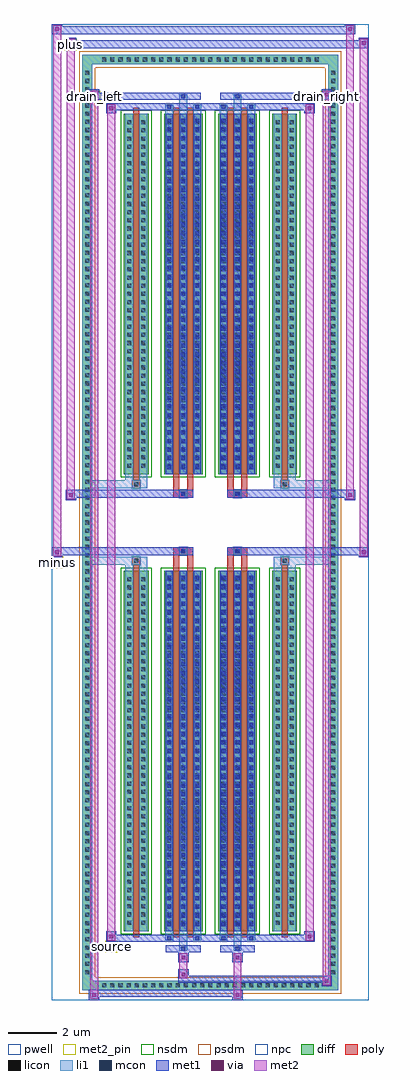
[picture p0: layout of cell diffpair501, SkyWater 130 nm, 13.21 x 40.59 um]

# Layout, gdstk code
import gdstk
lib = gdstk.Library(unit=1e-6, precision=5e-09)
def R(c, l, rs):  # rectangles x0, y0, x1, y1
    for r in rs: c.add(gdstk.rectangle(r[:2], r[2:], *l))
def A(c, l, x, y, w, h, nx, ny, dx, dy):  # array of equal rectangles
    R(c, l, [(x+i*dx, y+j*dy, x+i*dx+w, y+j*dy+h) for i in range(nx) for j in range(ny)])
def P(c, l, *ps):  # polygons
    for p in ps: c.add(gdstk.Polygon(p, *l))
pwell = (64, 44)
diff = (65, 20)
poly = (66, 20)
licon = (66, 44)
li1 = (67, 20)
mcon = (67, 44)
met1 = (68, 20)
via = (68, 44)
met2_pin = (69, 16)
met2 = (69, 20)
nsdm = (93, 44)
psdm = (94, 20)
npc = (95, 20)

diffpair501 = lib.new_cell('diffpair501')
R(diffpair501, pwell, [(-6.59,-19.86,6.59,20.73), (-3.91,-18.05,-0.01,-0.825), (0.01,-18.05,3.91,-0.825), (-3.91,0.825,-0.01,18.05), (0.01,0.825,3.91,18.05)])
A(diffpair501, diff, -4.625, -19.46, 0.41, 0.41, 27, 2, 0.34, 38.51)
A(diffpair501, diff, -5.32, -18.905, 0.41, 0.41, 1, 111, 0, 0.34)
A(diffpair501, diff, 4.91, -18.905, 0.41, 0.41, 1, 111, 0, 0.34)
R(diffpair501, diff, [(-4.625,-19.46,4.625,-19.05), (-5.32,-18.905,-4.91,18.905), (4.91,-18.905,5.32,18.905), (-3.6,-17.005,-2.57,-2.005), (-1.93,-17.005,-0.32,-2.005), (0.32,-17.005,1.93,-2.005), (2.57,-17.005,3.6,-2.005), (-3.6,2.005,-2.57,17.005), (-1.93,2.005,-0.32,17.005), (0.32,2.005,1.93,17.005), (2.57,2.005,3.6,17.005), (-4.625,19.05,4.625,19.46)])
P(diffpair501, diff, [(5.32,19.46),(-5.32,19.46),(-5.32,-19.05),(-4.91,-19.05),(-4.91,19.05),(4.91,19.05),(4.91,-19.05),(-4.91,-19.05),(-5.32,-19.05),(-5.32,-19.46),(5.32,-19.46)])
R(diffpair501, poly, [(-3.21,-17.255,-2.96,-1.755), (-1.54,-17.255,-1.29,-1.755), (-0.96,-17.255,-0.71,-1.755), (0.71,-17.255,0.96,-1.755), (1.29,-17.255,1.54,-1.755), (2.96,-17.255,3.21,-1.755), (-3.25,-1.755,-2.92,-1.425), (-3.25,-1.755,-2.92,-1.425), (-1.54,-1.755,-1.29,-1.355), (-0.96,-1.755,-0.71,-1.355), (0.71,-1.755,0.96,-1.355), (1.29,-1.755,1.54,-1.355), (2.92,-1.755,3.25,-1.425), (2.92,-1.755,3.25,-1.425), (-1.54,-1.355,-0.71,-1.025), (-1.29,-1.355,-0.96,-1.025), (0.71,-1.355,1.54,-1.025), (0.96,-1.355,1.29,-1.025), (-1.54,1.025,-0.71,1.355), (-1.29,1.025,-0.96,1.355), (0.71,1.025,1.54,1.355), (0.96,1.025,1.29,1.355), (-1.54,1.355,-1.29,1.755), (-0.96,1.355,-0.71,1.755), (0.71,1.355,0.96,1.755), (1.29,1.355,1.54,1.755), (-3.25,1.425,-2.92,1.755), (-3.25,1.425,-2.92,1.755), (2.92,1.425,3.25,1.755), (2.92,1.425,3.25,1.755), (-3.21,1.755,-2.96,17.255), (-1.54,1.755,-1.29,17.255), (-0.96,1.755,-0.71,17.255), (0.71,1.755,0.96,17.255), (1.29,1.755,1.54,17.255), (2.96,1.755,3.21,17.255)])
A(diffpair501, licon, -4.505, -19.34, 0.17, 0.17, 27, 2, 0.34, 38.51)
A(diffpair501, licon, -5.2, -18.785, 0.17, 0.17, 1, 111, 0, 0.34)
A(diffpair501, licon, 5.03, -18.785, 0.17, 0.17, 1, 111, 0, 0.34)
A(diffpair501, licon, -3.46, -16.73, 0.17, 0.17, 1, 43, 0, 0.34)
A(diffpair501, licon, -2.88, -16.73, 0.17, 0.17, 1, 43, 0, 0.34)
A(diffpair501, licon, -1.79, -16.73, 0.17, 0.17, 3, 43, 0.58, 0.34)
A(diffpair501, licon, 0.46, -16.73, 0.17, 0.17, 3, 43, 0.58, 0.34)
A(diffpair501, licon, 2.71, -16.73, 0.17, 0.17, 1, 43, 0, 0.34)
A(diffpair501, licon, 3.29, -16.73, 0.17, 0.17, 1, 43, 0, 0.34)
A(diffpair501, licon, -3.46, 2.28, 0.17, 0.17, 1, 43, 0, 0.34)
A(diffpair501, licon, -2.88, 2.28, 0.17, 0.17, 1, 43, 0, 0.34)
A(diffpair501, licon, -1.79, 2.28, 0.17, 0.17, 3, 43, 0.58, 0.34)
A(diffpair501, licon, 0.46, 2.28, 0.17, 0.17, 3, 43, 0.58, 0.34)
A(diffpair501, licon, 2.71, 2.28, 0.17, 0.17, 1, 43, 0, 0.34)
A(diffpair501, licon, 3.29, 2.28, 0.17, 0.17, 1, 43, 0, 0.34)
R(diffpair501, licon, [(-3.17,-1.675,-3,-1.505), (3,-1.675,3.17,-1.505), (-1.21,-1.275,-1.04,-1.105), (1.04,-1.275,1.21,-1.105), (-1.21,1.105,-1.04,1.275), (1.04,1.105,1.21,1.275), (-3.17,1.505,-3,1.675), (3,1.505,3.17,1.675)])
A(diffpair501, li1, -4.585, -19.42, 0.33, 0.33, 27, 2, 0.34, 38.51)
A(diffpair501, li1, -5.28, -18.865, 0.33, 0.33, 1, 111, 0, 0.34)
A(diffpair501, li1, 4.95, -18.865, 0.33, 0.33, 1, 111, 0, 0.34)
A(diffpair501, li1, -1.87, -17.005, 0.33, 15, 3, 2, 0.58, 19.01)
A(diffpair501, li1, 0.38, -17.005, 0.33, 15, 3, 2, 0.58, 19.01)
A(diffpair501, li1, -3.54, -16.81, 0.33, 0.33, 1, 43, 0, 0.34)
A(diffpair501, li1, -2.96, -16.81, 0.33, 0.33, 1, 43, 0, 0.34)
A(diffpair501, li1, -1.87, -16.81, 0.33, 0.33, 3, 43, 0.58, 0.34)
A(diffpair501, li1, 0.38, -16.81, 0.33, 0.33, 3, 43, 0.58, 0.34)
A(diffpair501, li1, 2.63, -16.81, 0.33, 0.33, 1, 43, 0, 0.34)
A(diffpair501, li1, 3.21, -16.81, 0.33, 0.33, 1, 43, 0, 0.34)
A(diffpair501, li1, -1.79, -16.79, 0.17, 0.17, 3, 41, 0.58, 0.36)
A(diffpair501, li1, -1.79, -16.79, 0.17, 14.57, 3, 2, 0.58, 19.01)
A(diffpair501, li1, 0.46, -16.79, 0.17, 0.17, 3, 41, 0.58, 0.36)
A(diffpair501, li1, 0.46, -16.79, 0.17, 14.57, 3, 2, 0.58, 19.01)
A(diffpair501, li1, -3.54, 2.2, 0.33, 0.33, 1, 43, 0, 0.34)
A(diffpair501, li1, -2.96, 2.2, 0.33, 0.33, 1, 43, 0, 0.34)
A(diffpair501, li1, -1.87, 2.2, 0.33, 0.33, 3, 43, 0.58, 0.34)
A(diffpair501, li1, 0.38, 2.2, 0.33, 0.33, 3, 43, 0.58, 0.34)
A(diffpair501, li1, 2.63, 2.2, 0.33, 0.33, 1, 43, 0, 0.34)
A(diffpair501, li1, 3.21, 2.2, 0.33, 0.33, 1, 43, 0, 0.34)
A(diffpair501, li1, -1.79, 2.22, 0.17, 0.17, 3, 41, 0.58, 0.36)
A(diffpair501, li1, 0.46, 2.22, 0.17, 0.17, 3, 41, 0.58, 0.36)
R(diffpair501, li1, [(-5.32,-19.46,-4.91,-19.05), (-5.32,-19.46,-4.91,-19.05), (-4.91,-19.46,4.91,-19.05), (4.91,-19.46,5.32,-19.05), (4.91,-19.46,5.32,-19.05), (-5.32,-19.05,-4.91,19.05), (4.91,-19.05,5.32,19.05), (-1.29,-17.81,-0.96,-17.005), (-1.21,-17.81,-1.04,-17.64), (0.96,-17.81,1.29,-17.005), (1.04,-17.81,1.21,-17.64), (-1.87,-17.38,-1.54,-17.005), (-1.79,-17.38,-1.62,-17.21), (-0.71,-17.38,-0.38,-17.005), (-0.63,-17.38,-0.46,-17.21), (0.38,-17.38,0.71,-17.005), (0.46,-17.38,0.63,-17.21), (1.54,-17.38,1.87,-17.005), (1.62,-17.38,1.79,-17.21), (-3.54,-17.005,-3.21,-2.005), (-2.96,-17.005,-2.63,-2.005), (2.63,-17.005,2.96,-2.005), (3.21,-17.005,3.54,-2.005), (-3.54,-2.005,-3.21,-1.425), (-2.96,-2.005,-2.63,-1.425), (2.63,-2.005,2.96,-1.425), (3.21,-2.005,3.54,-1.425), (-5.32,-1.755,-3.25,-1.425), (-3.54,-1.755,-3.25,-1.425), (-3.25,-1.755,-2.92,-1.425), (-2.92,-1.755,-2.63,-1.425), (2.63,-1.755,2.92,-1.425), (2.92,-1.755,3.25,-1.425), (2.92,-1.755,5.32,-1.425), (3.25,-1.755,3.54,-1.425), (-1.29,-1.355,-0.96,-1.025), (0.96,-1.355,1.29,-1.025), (-1.29,1.025,-0.96,1.355), (0.96,1.025,1.29,1.355), (-5.32,1.425,-3.25,1.755), (-3.54,1.425,-3.25,1.755), (-3.54,1.425,-3.21,2.005), (-3.25,1.425,-2.92,1.755), (-2.96,1.425,-2.63,2.005), (-2.92,1.425,-2.63,1.755), (2.63,1.425,2.92,1.755), (2.63,1.425,2.96,2.005), (2.92,1.425,3.25,1.755), (2.92,1.425,5.32,1.755), (3.21,1.425,3.54,2.005), (3.25,1.425,3.54,1.755), (-3.54,2.005,-3.21,17.005), (-2.96,2.005,-2.63,17.005), (2.63,2.005,2.96,17.005), (3.21,2.005,3.54,17.005), (-1.87,17.005,-1.54,17.38), (-1.29,17.005,-0.96,17.81), (-0.71,17.005,-0.38,17.38), (0.38,17.005,0.71,17.38), (0.96,17.005,1.29,17.81), (1.54,17.005,1.87,17.38), (-1.79,17.21,-1.62,17.38), (-0.63,17.21,-0.46,17.38), (0.46,17.21,0.63,17.38), (1.62,17.21,1.79,17.38), (-1.21,17.64,-1.04,17.81), (1.04,17.64,1.21,17.81), (-5.32,19.05,-4.91,19.46), (-5.32,19.05,-4.91,19.46), (-4.91,19.05,4.91,19.46), (4.91,19.05,5.32,19.46), (4.91,19.05,5.32,19.46)])
A(diffpair501, mcon, -1.79, -16.79, 0.17, 0.17, 3, 41, 0.58, 0.36)
A(diffpair501, mcon, 0.46, -16.79, 0.17, 0.17, 3, 41, 0.58, 0.36)
A(diffpair501, mcon, -1.79, 2.22, 0.17, 0.17, 3, 41, 0.58, 0.36)
A(diffpair501, mcon, 0.46, 2.22, 0.17, 0.17, 3, 41, 0.58, 0.36)
R(diffpair501, mcon, [(-1.21,-17.81,-1.04,-17.64), (1.04,-17.81,1.21,-17.64), (-1.79,-17.38,-1.62,-17.21), (-0.63,-17.38,-0.46,-17.21), (0.46,-17.38,0.63,-17.21), (1.62,-17.38,1.79,-17.21), (-1.21,-1.275,-1.04,-1.105), (1.04,-1.275,1.21,-1.105), (-1.21,1.105,-1.04,1.275), (1.04,1.105,1.21,1.275), (-1.79,17.21,-1.62,17.38), (-0.63,17.21,-0.46,17.38), (0.46,17.21,0.63,17.38), (1.62,17.21,1.79,17.38), (-1.21,17.64,-1.04,17.81), (1.04,17.64,1.21,17.81)])
A(diffpair501, met1, -1.85, -17.005, 0.29, 15, 3, 2, 0.58, 19.01)
A(diffpair501, met1, 0.4, -17.005, 0.29, 15, 3, 2, 0.58, 19.01)
A(diffpair501, met1, -1.85, -16.85, 0.29, 0.29, 3, 41, 0.58, 0.36)
A(diffpair501, met1, 0.4, -16.85, 0.29, 0.29, 3, 41, 0.58, 0.36)
A(diffpair501, met1, -1.85, 2.16, 0.29, 0.29, 3, 41, 0.58, 0.36)
A(diffpair501, met1, 0.4, 2.16, 0.29, 0.29, 3, 41, 0.58, 0.36)
R(diffpair501, met1, [(-5.05,-19.86,-4.62,-19.43), (0.91,-19.86,1.34,-19.43), (-5.05,-19.72,1.34,-19.43), (4.62,-19.29,5.05,-18.86), (-1.34,-19.15,5.05,-18.86), (-1.34,-19.01,-0.91,-18.58), (-1.34,-18.3,-0.91,-17.87), (0.91,-18.3,1.34,-17.87), (-1.85,-17.87,-0.4,-17.58), (-1.27,-17.87,-0.98,-17.58), (0.4,-17.87,1.85,-17.58), (0.98,-17.87,1.27,-17.58), (-4.34,-17.44,-3.91,-17.01), (-4.34,-17.44,-1.85,-17.15), (-1.85,-17.44,-1.56,-17.15), (-1.85,-17.44,-0.4,-17.15), (-0.69,-17.44,-0.4,-17.15), (-0.4,-17.44,0.4,-17.15), (0.4,-17.44,0.69,-17.15), (0.4,-17.44,1.85,-17.15), (1.56,-17.44,1.85,-17.15), (1.85,-17.44,4.34,-17.15), (3.91,-17.44,4.34,-17.01), (-6.59,-1.455,-6.16,-1.025), (6.16,-1.455,6.59,-1.025), (-6.59,-1.355,-0.71,-1.025), (-1.54,-1.355,-0.71,-1.025), (0.71,-1.355,1.54,-1.025), (0.71,-1.355,6.59,-1.025), (-1.27,-1.335,-0.98,-1.045), (0.98,-1.335,1.27,-1.045), (-6.02,0.925,-5.59,1.355), (5.59,0.925,6.02,1.355), (-6.02,1.025,-1.54,1.355), (-1.54,1.025,-0.71,1.355), (0.71,1.025,1.54,1.355), (1.54,1.025,6.02,1.355), (-1.27,1.045,-0.98,1.335), (0.98,1.045,1.27,1.335), (-4.34,17.01,-3.91,17.44), (3.91,17.01,4.34,17.44), (-4.34,17.15,-1.85,17.44), (-1.85,17.15,-1.56,17.44), (-1.85,17.15,-0.4,17.44), (-0.69,17.15,-0.4,17.44), (-0.4,17.15,0.4,17.44), (0.4,17.15,0.69,17.44), (0.4,17.15,1.85,17.44), (1.56,17.15,1.85,17.44), (1.85,17.15,4.34,17.44), (-5.05,17.58,-4.62,18.01), (-5.05,17.58,-1.85,17.87), (-1.85,17.58,-0.4,17.87), (-1.27,17.58,-0.98,17.87), (0.4,17.58,1.85,17.87), (0.98,17.58,1.27,17.87), (1.85,17.58,5.05,17.87), (4.62,17.58,5.05,18.01), (-6.02,19.73,-5.59,20.16), (-6.02,19.73,-3.91,20.06), (-3.91,19.73,3.91,20.06), (3.91,19.73,6.59,20.06), (6.16,19.73,6.59,20.16), (-6.59,20.3,-6.16,20.73), (-6.59,20.3,-3.91,20.63), (-3.91,20.3,3.91,20.63), (3.91,20.3,6.02,20.63), (5.59,20.3,6.02,20.73)])
R(diffpair501, via, [(-4.91,-19.72,-4.76,-19.57), (1.05,-19.72,1.2,-19.57), (4.76,-19.15,4.91,-19), (-1.2,-18.87,-1.05,-18.72), (-1.2,-18.16,-1.05,-18.01), (1.05,-18.16,1.2,-18.01), (-4.2,-17.3,-4.05,-17.15), (4.05,-17.3,4.2,-17.15), (-6.45,-1.315,-6.3,-1.165), (6.3,-1.315,6.45,-1.165), (-5.88,1.065,-5.73,1.215), (5.73,1.065,5.88,1.215), (-4.2,17.15,-4.05,17.3), (4.05,17.15,4.2,17.3), (-4.91,17.72,-4.76,17.87), (4.76,17.72,4.91,17.87), (-5.88,19.87,-5.73,20.02), (6.3,19.87,6.45,20.02), (-6.45,20.44,-6.3,20.59), (5.73,20.44,5.88,20.59)])
R(diffpair501, met2_pin, [(-4.375,-17.89,-3.875,-17.39), (-6.625,-1.905,-6.125,-1.405), (-5.085,17.46,-4.585,17.96), (4.585,17.46,5.085,17.96), (-6.055,19.61,-5.555,20.11)])
R(diffpair501, met2, [(-5,-19.81,-4.67,-19.48), (-5,-19.81,-4.67,17.96), (0.96,-19.81,1.29,-19.48), (0.96,-19.48,1.29,-18.25), (4.67,-19.24,5,-18.91), (4.67,-19.24,5,17.96), (-1.29,-18.96,-0.96,-18.63), (-1.29,-18.63,-0.96,-18.25), (-1.29,-18.25,-0.96,-17.92), (0.96,-18.25,1.29,-17.92), (-4.29,-17.39,-3.96,-17.06), (-4.29,-17.39,-3.96,17.39), (3.96,-17.39,4.29,-17.06), (3.96,-17.39,4.29,17.39), (-6.54,-1.405,-6.21,-1.075), (-6.54,-1.405,-6.21,20.68), (6.21,-1.405,6.54,-1.075), (6.21,-1.405,6.54,20.11), (-5.97,0.975,-5.64,1.305), (-5.97,0.975,-5.64,20.11), (5.64,0.975,5.97,1.305), (5.64,0.975,5.97,20.68), (-4.29,17.06,-3.96,17.39), (3.96,17.06,4.29,17.39), (-5,17.63,-4.67,17.96), (4.67,17.63,5,17.96), (-5.97,19.78,-5.64,20.11), (6.21,19.78,6.54,20.11), (-6.54,20.35,-6.21,20.68), (5.64,20.35,5.97,20.68)])
P(diffpair501, met2, [(6.54,-1.405),(6.54,-1.405),(6.54,-1.075),(6.54,-1.075)],
  [(6.54,19.78),(6.54,19.78),(6.54,20.11),(6.54,20.11)],
  [(-6.21,-1.405),(-6.21,-1.405),(-6.21,-1.075),(-6.21,-1.075)],
  [(-6.21,20.35),(-6.21,20.35),(-6.21,20.68),(-6.21,20.68)],
  [(5.97,0.975),(5.97,0.975),(5.97,1.305),(5.97,1.305)],
  [(5.97,20.35),(5.97,20.35),(5.97,20.68),(5.97,20.68)],
  [(-5.64,0.975),(-5.64,0.975),(-5.64,1.305),(-5.64,1.305)],
  [(-5.64,19.78),(-5.64,19.78),(-5.64,20.11),(-5.64,20.11)],
  [(-4.67,-19.81),(-4.67,-19.81),(-4.67,-19.48),(-4.67,-19.48)],
  [(-4.67,17.63),(-4.67,17.63),(-4.67,17.96),(-4.67,17.96)],
  [(5,-19.24),(5,-19.24),(5,-18.91),(5,-18.91)],
  [(5,17.63),(5,17.63),(5,17.96),(5,17.96)],
  [(-3.96,-17.39),(-3.96,-17.39),(-3.96,-17.06),(-3.96,-17.06)],
  [(-3.96,17.06),(-3.96,17.06),(-3.96,17.39),(-3.96,17.39)],
  [(4.29,-17.39),(4.29,-17.39),(4.29,-17.06),(4.29,-17.06)],
  [(4.29,17.06),(4.29,17.06),(4.29,17.39),(4.29,17.39)])
R(diffpair501, nsdm, [(-3.73,-17.135,-2.44,-1.875), (-2.06,-17.135,-0.19,-1.875), (0.19,-17.135,2.06,-1.875), (2.44,-17.135,3.73,-1.875), (-3.73,1.875,-2.44,17.135), (-2.06,1.875,-0.19,17.135), (0.19,1.875,2.06,17.135), (2.44,1.875,3.73,17.135)])
P(diffpair501, psdm, [(5.45,19.59),(-5.45,19.59),(-5.45,-18.92),(-4.78,-18.92),(-4.78,18.92),(4.78,18.92),(4.78,-18.92),(-4.78,-18.92),(-5.45,-18.92),(-5.45,-19.59),(5.45,-19.59)])
R(diffpair501, npc, [(-3.27,-1.775,-2.9,-1.405), (2.9,-1.775,3.27,-1.405), (-1.31,-1.375,-0.94,-1.005), (0.94,-1.375,1.31,-1.005), (-1.31,1.005,-0.94,1.375), (0.94,1.005,1.31,1.375), (-3.27,1.405,-2.9,1.775), (2.9,1.405,3.27,1.775)])
diffpair501.add(gdstk.Label('minus', (-6.375,-1.655), layer=69, texttype=5))
diffpair501.add(gdstk.Label('drain_right', (4.835,17.71), layer=69, texttype=5))
diffpair501.add(gdstk.Label('drain_left', (-4.835,17.71), layer=69, texttype=5))
diffpair501.add(gdstk.Label('source', (-4.125,-17.64), layer=69, texttype=5))
diffpair501.add(gdstk.Label('plus', (-5.805,19.86), layer=69, texttype=5))

lib.write_gds('diffpair501.gds')
